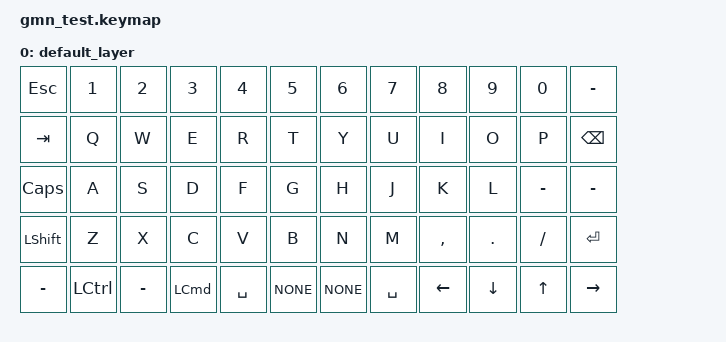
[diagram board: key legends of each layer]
// This file was generated from a template. Edit it to match your keyboard.
// See https://zmk.dev/docs/development/hardware-integration/new-shield for more instructions.

#include <behaviors.dtsi>
#include <dt-bindings/zmk/keys.h>

/ {
    // Define a default keymap here.
    // See https://zmk.dev/docs/development/hardware-integration/new-shield#default-keymap.

    keymap {
        compatible = "zmk,keymap";

        default_layer {
            bindings = <
&kp ESC         &kp NUMBER_1      &kp NUMBER_2  &kp NUMBER_3      &kp NUMBER_4  &kp NUMBER_5  &kp NUMBER_6  &kp NUMBER_7  &kp NUMBER_8    &kp NUMBER_9    &kp NUMBER_0  &kp MINUS
&kp TAB         &kp Q             &kp W         &kp E             &kp R         &kp T         &kp Y         &kp U         &kp I           &kp O           &kp P         &kp BACKSPACE
&kp CLCK        &kp A             &kp S         &kp D             &kp F         &kp G         &kp H         &kp J         &kp K           &kp L           &kp MINUS     &kp MINUS
&kp LEFT_SHIFT  &kp Z             &kp X         &kp C             &kp V         &kp B         &kp N         &kp M         &kp COMMA       &kp DOT         &kp SLASH     &kp ENTER
&kp MINUS       &kp LEFT_CONTROL  &kp MINUS     &kp LEFT_COMMAND  &kp SPACE     &kp NONE      &kp NONE      &kp SPACE     &kp LEFT_ARROW  &kp DOWN_ARROW  &kp UP_ARROW  &kp RIGHT_ARROW
            >;
        };
    };

    conditional_layers { compatible = "zmk,conditional-layers"; };
};
